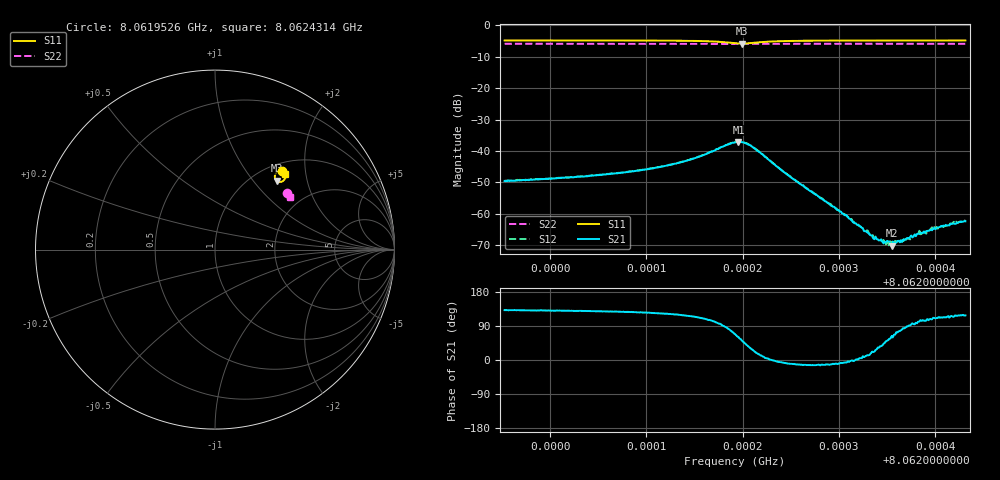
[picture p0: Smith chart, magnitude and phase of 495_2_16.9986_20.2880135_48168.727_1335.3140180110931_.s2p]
#  HZ  S  RI  R  50.00
! Rohde & Schwarz Vector Network Analyzer
! Rohde-Schwarz,ZNB20-2Port,1311601062101988,3.16
! Created: UTC 3/20/2024, 11:14:15 PM
! freq[Hz]  re:S11  im:S11  re:S21  im:S21  re:S12  im:S12  re:S22  im:S22
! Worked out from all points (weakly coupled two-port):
!   401 points, 8.0619526 GHz to 8.0624314 GHz, reference 50 ohm
!   highest |S21| = -37.10 dB at 8.0621956 GHz (marker M1); lowest = -70.1 dB at 8.0623548 GHz (marker M2)
!   lowest |S11| = -5.8 dB at 8.0621992 GHz (marker M3), VSWR 3.13, Z = 63.5 + j66.4 ohm
!   |S11| at or under -10 dB: nowhere
!   |S22| runs from -5.9 to -5.8 dB; largest |S21 - S12| = 0.00092
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8.06195263e9  0.3739 0.4383  -0.00222 0.0025  -0.00208 0.00265  0.4022 0.3143
8.06203282e9  0.3801 0.4324  -0.00249 0.00303  -0.00231 0.00323  0.4051 0.3101
8.06211301e9  0.3877 0.4219  -0.00303 0.0046  -0.00276 0.00483  0.4081 0.3057
8.06214652e9  0.3915 0.4113  -0.00316 0.00666  -0.0028 0.00693  0.4093 0.3037
8.062192e9  0.3602 0.377  0.00513 0.0128  0.00596 0.0126  0.4089 0.3004
8.06219559e9  0.3517 0.3791  0.00693 0.0121  0.00768 0.0117  0.4085 0.3004
8.06219918e9  0.3436 0.3838  0.00869 0.0108  0.00931 0.0105  0.4083 0.3004
8.06220637e9  0.3341 0.399  0.0103 0.00722  0.0109 0.00664  0.4085 0.301
8.06221474e9  0.335 0.4164  0.00978 0.00316  0.0101 0.00271  0.409 0.3014
8.06224107e9  0.3567 0.4351  0.00483 -0.000567  0.0048 -0.000912  0.4112 0.3007
8.06227219e9  0.3705 0.4347  0.00215 -0.000514  0.00217 -0.000659  0.413 0.2991
8.06230929e9  0.3784 0.4317  0.000898 -5.1e-05  0.000871 -0.000158  0.4143 0.297
8.06233443e9  0.3819 0.4299  0.000416 0.00017  0.000463 0.000104  0.4154 0.2956
8.062344e9  0.383 0.4292  0.000314 0.000236  0.000305 0.000213  0.4156 0.2951
8.06234999e9  0.3837 0.4286  0.000235 0.000288  0.000217 0.000271  0.416 0.2948
8.06235238e9  0.3839 0.4285  0.000204 0.0003  0.000206 0.000226  0.416 0.2945
8.06235477e9  0.3842 0.4284  0.000139 0.000278  0.00017 0.000292  0.416 0.2945
8.06237153e9  0.3859 0.4273  1.09e-05 0.000414  2e-05 0.000402  0.4168 0.2938
8.06238111e9  0.3868 0.4265  -5.75e-05 0.000473  -5.6e-05 0.000485  0.4169 0.293
8.06238829e9  0.3874 0.426  -0.000124 0.000509  -8.52e-05 0.000498  0.4174 0.2928
8.06239666e9  0.3881 0.4256  -0.000162 0.000522  -0.000159 0.000592  0.4176 0.2924
8.06243137e9  0.3909 0.4233  -0.000354 0.000675  -0.000317 0.000739  0.4187 0.2905
